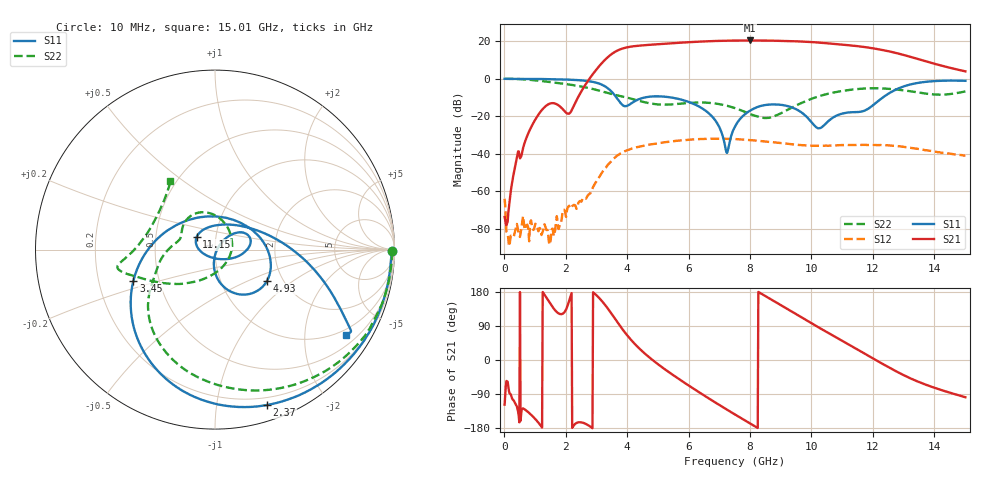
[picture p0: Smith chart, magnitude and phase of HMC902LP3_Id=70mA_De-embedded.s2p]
! Hittite Microwave Corporation
! 20 Alpha Road
! Chelmsford, MA 01824
! http://www.hittite.com
! Tel: 978-250-3343
! Fax: 978-250-3373
! Device:  HMC902LP3E
! Description: GaAs pHEMT MMIC Low Noise Amplifier
! Frequency:  5.00 -  10.00 GHz
! Package:  LP3  - 3x3 mm Quad Flatpack No-Lead (QFN) Plastic Package: 16 pin
! Ports:  2 RF, 4 DC
!  Pin  3 = RF In  = Port 1
!  Pin  5 = Vgg1 (Optional)
!  Pin  6 = Vgg2 (Optional)
!  Pin 10 = RF Out  = Port 2
!  Pin 14 = Vdd2
!  Pin 15 = Vdd1
! Voltages:  Vdd  = Vdd1 = Vdd2 = +3.50  Volts
!  Idd  = Idd1 + Idd2 = 70.51  mA
!  Vgg  = Vgg1 = Vgg2 = -0.16  Volts
!  Igg  = Igg1 + Igg2 = -0.04  mA
! Data:  The device was measured on evaluation board 128395.
!  Data was collected using a calibrated network analyzer.
!  The evaluation circuit board was modeled and simulated.  This was use
!  to removed the evaluation board circuit from the measured data.
!  The reference plane is the edge of the package pin.
! Misc:
! Date Measured:  2010-08-30
! Date:  2010-09-07 MJV
! Note:
!  Hittite supplies this data as a sample of measured data at the package pin for
!  for this package product.  Your particular data for this product may vary.
!  Data was taken at 25 degrees C.
!  Hittite reserves the right to change this data at anytime.
# GHz S MA R 50
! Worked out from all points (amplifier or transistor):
!   751 points, 10 MHz to 15.01 GHz, reference 50 ohm
!   highest |S21| = 20.3 dB at 8.01 GHz (marker M1)
!   |S21| within 3 dB of that: 4.25 GHz to 11.48 GHz (7.233 GHz wide, 92 % of centre)
!   unconditionally stable (mu >= 1): start of sweep to end of sweep
!   at 2.51 GHz: K = 248.82, MAG = 2.4 dB, |S12| = -65.4 dB
!   at 7.51 GHz: K = 2.04, MAG = 20.3 dB, |S12| = -32.1 dB
!   at 15.01 GHz: K = 6.33, MAG = 11.4 dB, |S12| = -40.9 dB
!   S11 on the Smith chart (normalised r, x): 10 MHz: open; 2.37 GHz: 0.13, -1.38; 3.45 GHz: 0.36, -0.16; 4.93 GHz: 1.66, -0.65; 11.15 GHz: 0.81, +0.12; 15.01 GHz: 0.80, -3.20
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0.01  0.9865 -0.4  0.0002105 -117.8  0.0006391 173.5  0.9855 -0.6
1.03  0.9764 -26.3  0.08714 -157.7  0.0001319 28.1  0.8934 -53.8
2.37  0.9129 -71.5  0.2846 -165.4  0.0003597 -118.7  0.6442 -113.5
2.51  0.8961 -78.2  0.4601 -164.6  0.0005346 -106.2  0.615 -119.2
3.05  0.7539 -113.9  1.964 166.9  0.002147 -89.8  0.4882 -139.9
3.45  0.4867 -159.1  4.211 126.8  0.005996 -115.9  0.3969 -151.9
4.01  0.19 64.3  6.808 64.2  0.01252 -170.5  0.3101 -168.8
4.45  0.2963 -1.9  7.583 26.1  0.01582 157.1  0.2485 177.2
4.93  0.3379 -31.0  8.114 -6.6  0.01869 128.6  0.2084 166.1
5.01  0.3381 -34.6  8.201 -11.6  0.01922 124.4  0.2058 164.6
5.61  0.2957 -58.1  8.856 -46.2  0.02212 95.3  0.2108 151.6
6.33  0.1825 -82.0  9.588 -84.6  0.02457 63.7  0.2312 128.7
6.89  0.07315 -95.0  9.998 -113.2  0.02528 40.3  0.2166 106.0
7.51  0.05332 47.1  10.25 -143.9  0.02483 16.3  0.1639 74.2
8.01  0.1419 39.8  10.31 -168.1  0.02324 -1.2  0.1136 37.3
8.89  0.2046 13.4  10.11 150.1  0.01977 -25.6  0.1082 -70.2
10.01  0.06802 -52.0  9.333 96.6  0.01643 -45.2  0.2923 -139.1
11.15  0.1243 145.3  7.787 43.9  0.01713 -64.5  0.4886 -163.1
11.79  0.1489 70.0  6.785 14.0  0.01724 -78.9  0.5474 -168.1
12.51  0.3995 3.3  5.325 -19.0  0.01676 -98.1  0.5344 -172.1
13.69  0.8151 -27.6  2.928 -64.2  0.01259 -128.6  0.4029 171.2
15.01  0.8727 -32.9  1.558 -98.3  0.009058 -153.1  0.4555 123.0
